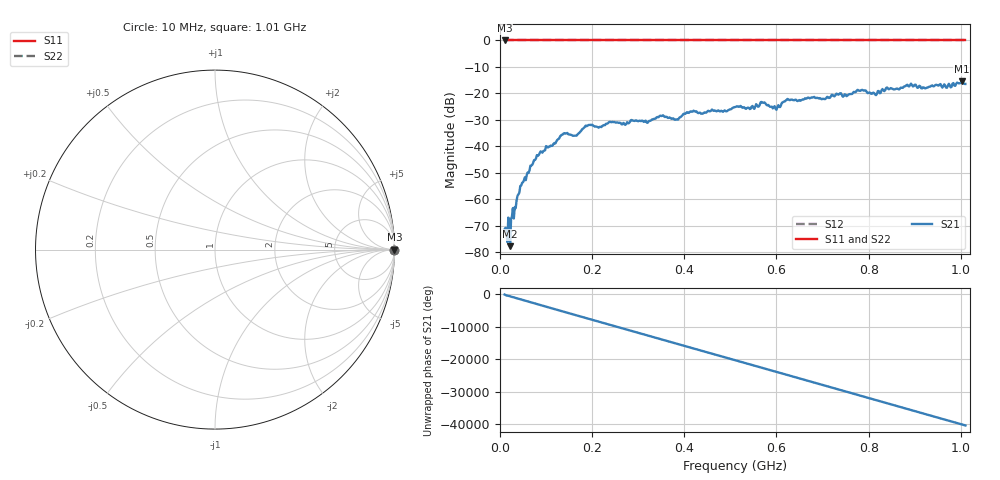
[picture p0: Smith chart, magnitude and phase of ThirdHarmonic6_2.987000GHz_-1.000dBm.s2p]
! 8/17/2025 8:30:13 AM
! C:\ANRITSUVNA\TEMP\TEMP.S2P
! CHANNEL.1
! TR.MEASUREMENT
! RAW.DATA
! RF.CORRECTION.OFF
! AVERAGING.OFF
! IF.BANDWIDTH: 5KHZ
! SWEEPTYPE:  FREQ.SWEEP(Linear)
! Reference Plane Port Info
! PORT:  PORT1  PORT2
! DISTANCE:  0  m  0  m
! TIME:  0  s  0  s
! PHASE.OFFSET:  0  deg.  0  deg.
! LOSS:  0  dB  0  dB
! REF.LOSS:  0  dB  0  dB
! REF.FREQ:  0  Hz  0  Hz
! Power Info
! POWER:  -20  dBm  -20  dBm
! EFF.POWER:  -20  dBm  -20  dBm
! SOURCE.ATTEN:  0  dB  0  dB
! TEST.ATTEN:  0  dB  0  dB
# GHZ S RI R 50.0
! FREQ.GHZ  S11RE  S11IM  S21RE  S21IM  S12RE  S12IM  S22RE  S22IM
!; PortSelection: Port_12
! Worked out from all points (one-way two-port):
!   501 points, 10 MHz to 1.01 GHz, reference 50 ohm
!   highest |S21| = -15.52 dB at 1.002 GHz (marker M1); lowest = -77.8 dB at 22 MHz (marker M2)
!   lowest |S11| = 0.0 dB at 10 MHz (marker M3)
!   |S11| at or under -10 dB: nowhere
!   |S22| runs from 0.0 to 0.0 dB; largest |S21 - S12| = 1.2
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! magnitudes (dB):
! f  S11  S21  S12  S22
! 10 MHz  0.0  -71.4  0.0  0.0
! 18 MHz  0.0  -67.0  0.0  0.0
! 22 MHz  0.0  -77.8  0.0  0.0
! 48 MHz  0.0  -53.8  0.0  0.0
! 84 MHz  0.0  -43.3  0.0  0.0
! 136 MHz  0.0  -35.6  0.0  0.0
! 162 MHz  0.0  -36.0  0.0  0.0
! 178 MHz  0.0  -33.7  0.0  0.0
! 344 MHz  0.0  -29.0  0.0  0.0
! 382 MHz  0.0  -29.9  0.0  0.0
! 416 MHz  0.0  -27.0  0.0  0.0
! 510 MHz  0.0  -25.2  0.0  0.0
! 548 MHz  0.0  -24.8  0.0  0.0
! 570 MHz  0.0  -23.5  0.0  0.0
! 596 MHz  0.0  -24.8  0.0  0.0
! 624 MHz  0.0  -22.1  0.0  0.0
! 678 MHz  0.0  -21.5  0.0  0.0
! 780 MHz  0.0  -19.0  0.0  0.0
! 814 MHz  0.0  -20.4  0.0  0.0
! 844 MHz  0.0  -18.5  0.0  0.0
! 1.002 GHz  0.0  -15.5  0.0  0.0
! 1.01 GHz  0.0  -16.4  0.0  0.0
